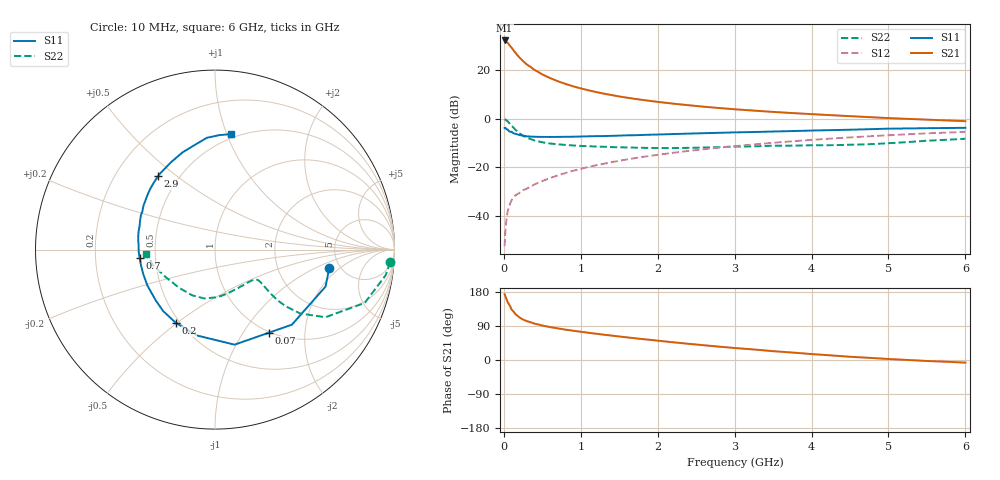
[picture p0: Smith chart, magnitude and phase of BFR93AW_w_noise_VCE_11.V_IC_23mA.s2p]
! Infineon Technologies  Discrete & RF Semiconductors
! BFR93AW
! VCE =  11. V,  IC =  23 mA
! Common Emitter S-Parameters:  Jan 2017
# GHz  S  MA  R  50
!  f  S11  S21  S12  S22
! GHz  MAG  ANG  MAG  ANG  MAG  ANG  MAG  ANG
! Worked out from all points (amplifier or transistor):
!   77 points, 10 MHz to 6 GHz, reference 50 ohm
!   highest |S21| = 32.2 dB at 10 MHz (marker M1)
!   |S21| within 3 dB of that: start of sweep to 101.1 MHz
!   unconditionally stable (mu >= 1): 677.6 MHz to 2.063 GHz
!   at 130 MHz: K = 0.45, MSG = 30.1 dB, |S12| = -32.3 dB
!   at 2.2 GHz: K = 0.99, MSG = 10.1 dB, |S12| = -14.0 dB
!   at 6 GHz: K = 0.85, MSG = 2.2 dB, |S12| = -5.4 dB
!   lowest NFmin = 1.60 dB at 450 MHz
!   S11 on the Smith chart (normalised r, x): 10 MHz: 4.09, -1.44; 70 MHz: 0.99, -1.32; 200 MHz: 0.48, -0.49; 700 MHz: 0.41, -0.05; 2.9 GHz: 0.39, +0.43; 6 GHz: 0.46, +1.03
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0.01  0.6448 -9.2  40.52 173.5  0.0024 81.9  0.9783 -4.1
0.02  0.6494 -18.5  40.15 168.2  0.0049 87.5  0.9619 -8.5
0.05  0.5988 -44.3  36.41 152.6  0.0125 71.1  0.8855 -19.6
0.07  0.5519 -57.0  32.96 146.0  0.0158 66.1  0.816 -23.8
0.1  0.5407 -78.4  28.83 133.4  0.021 61.7  0.7217 -31.5
0.15  0.489 -101.7  22.67 121.1  0.0265 58.1  0.5924 -36.9
0.2  0.4629 -118.2  18.27 112.8  0.0296 58.3  0.5051 -38.7
0.25  0.4478 -130.2  15.25 106.7  0.0338 58.2  0.4473 -39.0
0.3  0.435 -139.3  12.97 102.4  0.0366 59.6  0.405 -38.5
0.4  0.4265 -152.0  10.03 95.8  0.0447 62.7  0.3558 -37.2
0.5  0.4224 -161.3  8.123 91.0  0.0522 64.1  0.3271 -36.1
0.6  0.4216 -168.2  6.843 86.9  0.0602 65.6  0.3094 -35.5
0.7  0.4224 -173.8  5.898 83.5  0.0682 66.5  0.2976 -35.3
0.9  0.4261 176.9  4.626 77.3  0.0849 68.0  0.2819 -36.4
1.1  0.4344 169.6  3.833 71.9  0.102 68.8  0.2721 -38.6
1.5  0.4493 158.0  2.866 62.1  0.1363 68.0  0.2582 -45.9
2.1  0.4777 143.4  2.126 48.9  0.19 64.9  0.2495 -61.9
2.9  0.5178 127.6  1.608 33.5  0.2632 58.9  0.2634 -86.0
3.1  0.5264 123.8  1.523 30.1  0.2818 57.1  0.2675 -91.6
4.1  0.5747 107.0  1.216 14.3  0.376 47.5  0.2843 -119.9
5.1  0.6266 92.9  1.013 1.6  0.4652 36.8  0.3198 -153.6
6  0.6495 82.3  0.89 -6.9  0.5369 26.6  0.3871 -176.4
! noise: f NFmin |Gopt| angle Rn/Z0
0.45  1.6  0.15  166  0.15
0.9  1.88  0.24  177  0.16
1.9  2.89  0.48  -138  0.24
2.4  3.53  0.55  -126  0.48
